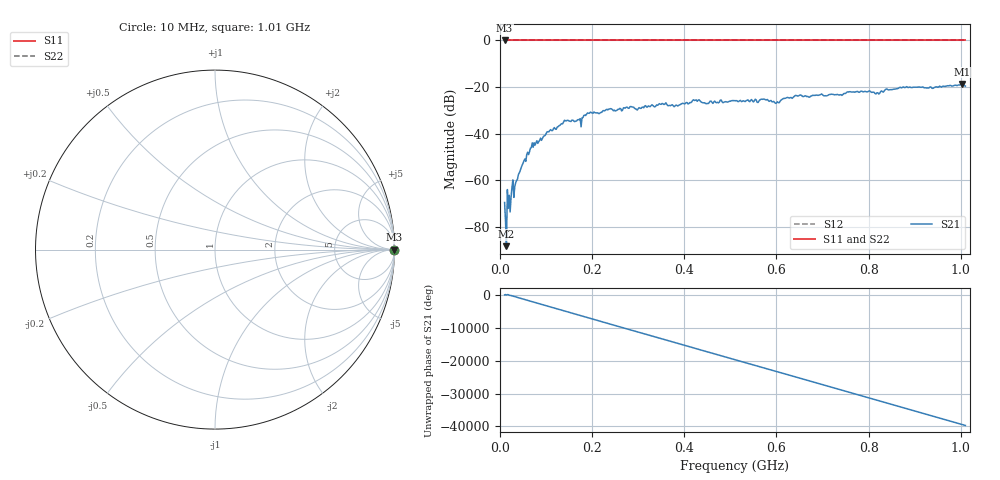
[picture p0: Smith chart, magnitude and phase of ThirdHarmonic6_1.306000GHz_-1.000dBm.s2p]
! 8/16/2025 2:24:45 PM
! C:\ANRITSUVNA\TEMP\TEMP.S2P
! CHANNEL.1
! TR.MEASUREMENT
! RAW.DATA
! RF.CORRECTION.OFF
! AVERAGING.OFF
! IF.BANDWIDTH: 5KHZ
! SWEEPTYPE:  FREQ.SWEEP(Linear)
! Reference Plane Port Info
! PORT:  PORT1  PORT2
! DISTANCE:  0  m  0  m
! TIME:  0  s  0  s
! PHASE.OFFSET:  0  deg.  0  deg.
! LOSS:  0  dB  0  dB
! REF.LOSS:  0  dB  0  dB
! REF.FREQ:  0  Hz  0  Hz
! Power Info
! POWER:  -20  dBm  -20  dBm
! EFF.POWER:  -20  dBm  -20  dBm
! SOURCE.ATTEN:  0  dB  0  dB
! TEST.ATTEN:  0  dB  0  dB
# GHZ S RI R 50.0
! FREQ.GHZ  S11RE  S11IM  S21RE  S21IM  S12RE  S12IM  S22RE  S22IM
!; PortSelection: Port_12
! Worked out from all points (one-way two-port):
!   501 points, 10 MHz to 1.01 GHz, reference 50 ohm
!   highest |S21| = -18.67 dB at 1.002 GHz (marker M1); lowest = -88.4 dB at 14 MHz (marker M2)
!   lowest |S11| = 0.0 dB at 10 MHz (marker M3)
!   |S11| at or under -10 dB: nowhere
!   |S22| runs from 0.0 to 0.0 dB; largest |S21 - S12| = 1.1
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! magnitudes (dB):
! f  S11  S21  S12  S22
! 10 MHz  0.0  -69.7  0.0  0.0
! 14 MHz  0.0  -88.4  0.0  0.0
! 24 MHz  0.0  -67.3  0.0  0.0
! 48 MHz  0.0  -53.6  0.0  0.0
! 70 MHz  0.0  -44.0  0.0  0.0
! 142 MHz  0.0  -34.5  0.0  0.0
! 178 MHz  0.0  -33.2  0.0  0.0
! 194 MHz  0.0  -31.3  0.0  0.0
! 344 MHz  0.0  -27.5  0.0  0.0
! 382 MHz  0.0  -27.8  0.0  0.0
! 422 MHz  0.0  -25.8  0.0  0.0
! 448 MHz  0.0  -27.2  0.0  0.0
! 510 MHz  0.0  -25.9  0.0  0.0
! 570 MHz  0.0  -25.3  0.0  0.0
! 602 MHz  0.0  -26.4  0.0  0.0
! 642 MHz  0.0  -23.6  0.0  0.0
! 678 MHz  0.0  -23.6  0.0  0.0
! 758 MHz  0.0  -22.0  0.0  0.0
! 820 MHz  0.0  -22.5  0.0  0.0
! 844 MHz  0.0  -21.3  0.0  0.0
! 1.002 GHz  0.0  -18.7  0.0  0.0
! 1.01 GHz  0.0  -19.6  0.0  0.0
